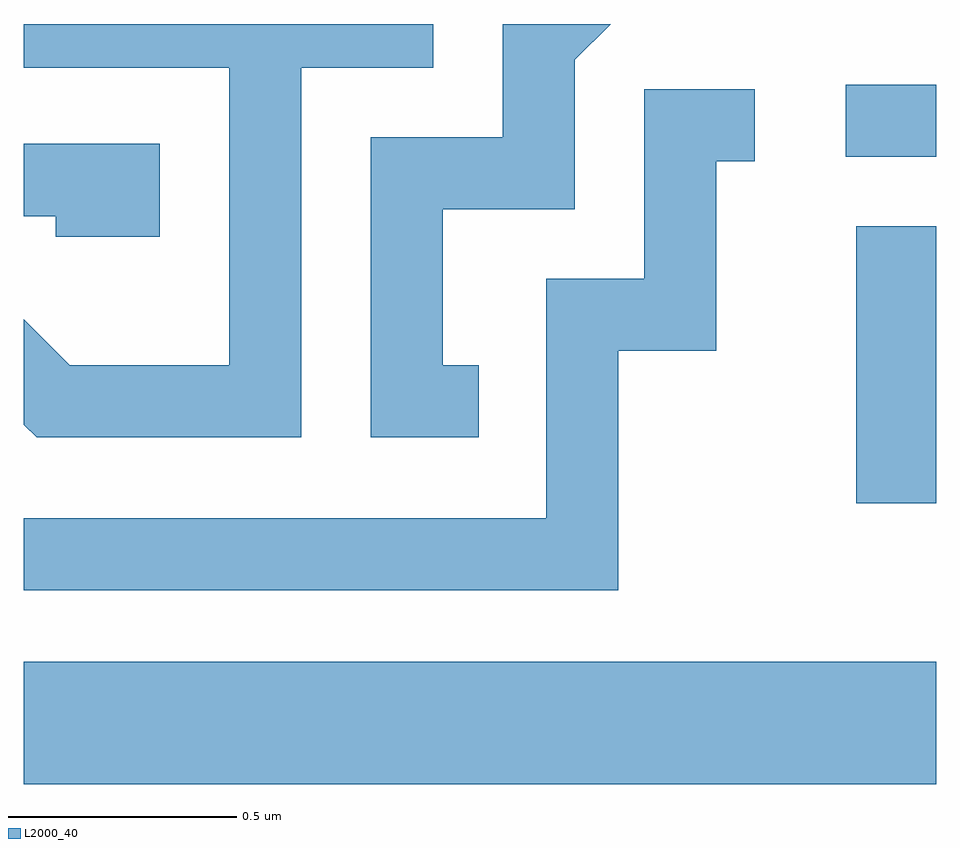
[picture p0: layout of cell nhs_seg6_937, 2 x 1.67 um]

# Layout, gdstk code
import gdstk
lib = gdstk.Library(unit=1e-6, precision=1e-09)
def R(c, l, rs):  # rectangles x0, y0, x1, y1
    for r in rs: c.add(gdstk.rectangle(r[:2], r[2:], *l))
def P(c, l, *ps):  # polygons
    for p in ps: c.add(gdstk.Polygon(p, *l))
L2000_40 = (2000, 40)

nhs_seg6_937 = lib.new_cell('nhs_seg6_937')
R(nhs_seg6_937, L2000_40, [(191.611,1645.496,193.611,1645.764), (193.436,1646.111,193.611,1646.719), (193.413,1646.871,193.611,1647.029)])
P(nhs_seg6_937, L2000_40, [(192.219,1647.066),(192.509,1647.066),(192.509,1647.162),(191.611,1647.162),(191.611,1647.066),(192.061,1647.066),(192.061,1646.414),(191.712,1646.414),(191.611,1646.515),(191.611,1646.284),(191.639,1646.256),(192.219,1646.256)],
  [(192.608,1646.414),(192.529,1646.414),(192.529,1646.756),(192.819,1646.756),(192.819,1647.084),(192.898,1647.162),(192.661,1647.162),(192.661,1646.914),(192.371,1646.914),(192.371,1646.256),(192.608,1646.256)],
  [(192.914,1646.446),(193.129,1646.446),(193.129,1646.861),(193.213,1646.861),(193.213,1647.019),(192.971,1647.019),(192.971,1646.604),(192.756,1646.604),(192.756,1646.079),(191.611,1646.079),(191.611,1645.921),(192.914,1645.921)],
  [(191.909,1646.899),(191.611,1646.899),(191.611,1646.741),(191.681,1646.741),(191.681,1646.696),(191.909,1646.696)])

lib.write_gds('nhs_seg6_937.gds')
